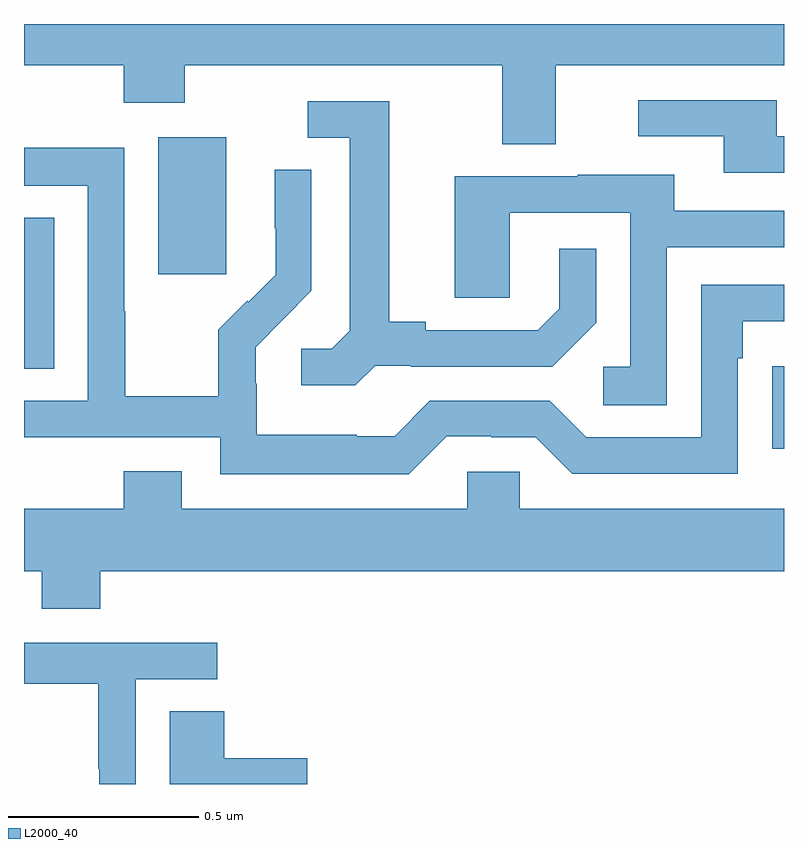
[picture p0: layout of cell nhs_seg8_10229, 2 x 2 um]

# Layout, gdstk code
import gdstk
lib = gdstk.Library(unit=1e-6, precision=1e-09)
def R(c, l, rs):  # rectangles x0, y0, x1, y1
    for r in rs: c.add(gdstk.rectangle(r[:2], r[2:], *l))
def P(c, l, *ps):  # polygons
    for p in ps: c.add(gdstk.Polygon(p, *l))
L2000_40 = (2000, 40)

nhs_seg8_10229 = lib.new_cell('nhs_seg8_10229')
R(nhs_seg8_10229, L2000_40, [(247.969,1156.782,248,1157), (246,1156.993,246.079,1157.39), (246.353,1157.241,246.532,1157.602)])
P(nhs_seg8_10229, L2000_40, [(247.399,1157.792),(248,1157.792),(248,1157.9),(246,1157.9),(246,1157.792),(246.263,1157.792),(246.263,1157.693),(246.423,1157.693),(246.423,1157.792),(247.259,1157.792),(247.259,1157.584),(247.399,1157.584)],
  [(248,1157.604),(247.981,1157.604),(247.981,1157.7),(247.617,1157.7),(247.617,1157.604),(247.841,1157.604),(247.841,1157.508),(248,1157.508)],
  [(246.924,1157.001),(247.018,1157.001),(247.018,1156.998),(247.39,1156.998),(247.506,1157.114),(247.506,1157.308),(247.409,1157.308),(247.409,1157.151),(247.352,1157.094),(247.057,1157.094),(247.057,1157.117),(246.961,1157.117),(246.961,1157.697),(246.747,1157.697),(246.747,1157.601),(246.857,1157.601),(246.857,1157.093),(246.81,1157.046),(246.729,1157.046),(246.729,1156.949),(246.872,1156.949)],
  [(247.113,1156.815),(247.229,1156.815),(247.229,1156.812),(247.347,1156.812),(247.443,1156.716),(247.878,1156.716),(247.878,1157.021),(247.891,1157.021),(247.891,1157.118),(248,1157.118),(248,1157.214),(247.782,1157.214),(247.782,1156.812),(247.479,1156.812),(247.383,1156.908),(247.068,1156.908),(246.975,1156.815),(246.875,1156.815),(246.875,1156.819),(246.612,1156.819),(246.612,1156.953),(246.61,1156.953),(246.61,1157.05),(246.684,1157.124),(246.683,1157.125),(246.756,1157.198),(246.756,1157.516),(246.66,1157.516),(246.66,1157.362),(246.662,1157.362),(246.662,1157.24),(246.591,1157.169),(246.588,1157.172),(246.511,1157.095),(246.511,1156.921),(246.267,1156.921),(246.267,1157.144),(246.264,1157.144),(246.264,1157.574),(246,1157.574),(246,1157.475),(246.168,1157.475),(246.168,1156.908),(246,1156.908),(246,1156.812),(246.516,1156.812),(246.516,1156.715),(247.013,1156.715)],
  [(247.692,1157.313),(248,1157.313),(248,1157.409),(247.711,1157.409),(247.711,1157.503),(247.457,1157.503),(247.457,1157.499),(247.133,1157.499),(247.133,1157.179),(247.278,1157.179),(247.278,1157.403),(247.596,1157.403),(247.596,1156.998),(247.524,1156.998),(247.524,1156.897),(247.692,1156.897)],
  [(246.2,1156.46),(248,1156.46),(248,1156.624),(247.305,1156.624),(247.305,1156.722),(247.167,1156.722),(247.167,1156.624),(246.415,1156.624),(246.415,1156.723),(246.263,1156.723),(246.263,1156.624),(246,1156.624),(246,1156.46),(246.047,1156.46),(246.047,1156.361),(246.2,1156.361)],
  [(246.294,1156.176),(246.508,1156.176),(246.508,1156.272),(246,1156.272),(246,1156.164),(246.196,1156.164),(246.196,1155.94),(246.198,1155.94),(246.198,1155.9),(246.294,1155.9)],
  [(246.745,1155.968),(246.527,1155.968),(246.527,1156.091),(246.383,1156.091),(246.383,1155.9),(246.745,1155.9)])

lib.write_gds('nhs_seg8_10229.gds')
